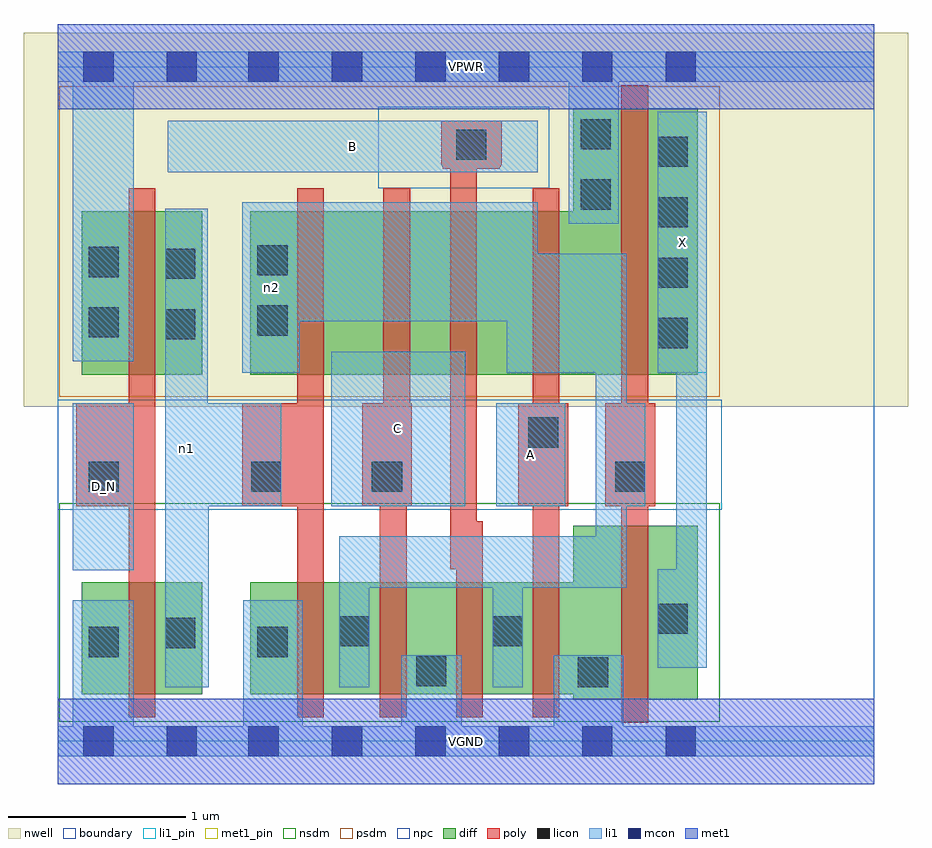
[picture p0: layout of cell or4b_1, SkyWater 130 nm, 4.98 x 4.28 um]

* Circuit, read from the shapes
.subckt or4b_1 A B C D_N VGND VPWR X n1 n2
XM1 n1 D_N VGND VSUBS sky130_fd_pr__nfet_01v8 w=0.63 l=0.15
XM2 n2 n1 VGND VSUBS sky130_fd_pr__nfet_01v8 w=0.63 l=0.15
XM3 VGND C n2 VSUBS sky130_fd_pr__nfet_01v8 w=0.63 l=0.15
XM4 n2 B VGND VSUBS sky130_fd_pr__nfet_01v8 w=0.63 l=0.15
XM5 VGND A n2 VSUBS sky130_fd_pr__nfet_01v8 w=0.63 l=0.15
XM6 X n2 VGND VSUBS sky130_fd_pr__nfet_01v8 w=0.98 l=0.15
XM7 n1 D_N VPWR n3 sky130_fd_pr__pfet_01v8 w=0.92 l=0.15
XM8 n4 n1 n2 n3 sky130_fd_pr__pfet_01v8 w=0.92 l=0.15
XM9 n5 C n4 n3 sky130_fd_pr__pfet_01v8 w=0.92 l=0.15
XM10 n6 B n5 n3 sky130_fd_pr__pfet_01v8 w=0.92 l=0.15
XM11 VPWR A n6 n3 sky130_fd_pr__pfet_01v8 w=0.92 l=0.15
XM12 X n2 VPWR n3 sky130_fd_pr__pfet_01v8 w=1.5 l=0.15
.ends

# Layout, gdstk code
import gdstk
lib = gdstk.Library(unit=1e-6, precision=1e-09)
def R(c, l, rs):  # rectangles x0, y0, x1, y1
    for r in rs: c.add(gdstk.rectangle(r[:2], r[2:], *l))
def A(c, l, x, y, w, h, nx, ny, dx, dy):  # array of equal rectangles
    R(c, l, [(x+i*dx, y+j*dy, x+i*dx+w, y+j*dy+h) for i in range(nx) for j in range(ny)])
nwell = (64, 20)
diff = (65, 20)
poly = (66, 20)
licon = (66, 44)
li1_pin = (67, 16)
li1 = (67, 20)
mcon = (67, 44)
met1_pin = (68, 16)
met1 = (68, 20)
nsdm = (93, 44)
psdm = (94, 20)
npc = (95, 20)
boundary = (235, 4)

or4b_1 = lib.new_cell('or4b_1')
R(or4b_1, nwell, [(-0.19,1.885,4.79,3.99), (0,1.885,4.6,3.99)])
R(or4b_1, diff, [(2.905,0.235,3.605,1.215), (0.135,0.265,0.815,0.895), (1.085,0.265,3.605,0.895), (0.135,2.065,0.815,2.985), (1.085,2.065,3.605,2.985), (2.905,2.065,3.605,3.565)])
R(or4b_1, poly, [(3.175,0.105,3.325,3.695), (0.4,0.135,0.55,3.115), (1.35,0.135,1.5,3.115), (1.815,0.135,1.965,1.905), (2.245,0.135,2.395,1.24), (2.675,0.135,2.825,3.115), (2.21,0.97,2.36,3.495), (0.105,1.325,0.55,1.905), (1.04,1.325,1.5,1.905), (1.715,1.325,1.995,1.905), (1.835,1.325,1.985,3.115), (2.595,1.325,2.875,1.905), (3.085,1.325,3.365,1.905), (2.17,3.225,2.49,3.495), (2.165,3.235,2.495,3.495), (2.16,3.245,2.5,3.495)])
A(or4b_1, licon, 3.38, 2.215, 0.17, 0.17, 1, 4, 0, 0.34)
R(or4b_1, licon, [(2.93,0.305,3.1,0.475), (2.02,0.31,2.19,0.48), (0.175,0.475,0.345,0.645), (1.125,0.475,1.295,0.645), (0.605,0.525,0.775,0.695), (1.585,0.535,1.755,0.705), (2.45,0.535,2.62,0.705), (3.38,0.605,3.55,0.775), (0.175,1.405,0.345,1.575), (1.09,1.405,1.26,1.575), (1.77,1.405,1.94,1.575), (3.14,1.405,3.31,1.575), (2.65,1.655,2.82,1.825), (0.605,2.265,0.775,2.435), (0.175,2.275,0.345,2.445), (1.125,2.285,1.295,2.455), (0.605,2.605,0.775,2.775), (0.175,2.615,0.345,2.785), (1.125,2.625,1.295,2.795), (2.945,2.995,3.115,3.165), (2.245,3.275,2.415,3.445), (2.945,3.335,3.115,3.505)])
R(or4b_1, li1_pin, [(0.085,0.965,0.43,1.905), (1.54,1.325,2.295,2.195), (2.47,1.325,2.86,1.905), (3.38,2.075,3.655,3.545), (0.62,3.205,2.705,3.495)])
R(or4b_1, li1, [(0,-0.085,4.6,0.085), (0.085,-0.085,0.43,0.795), (1.045,-0.085,1.38,0.795), (1.935,-0.085,2.275,0.485), (2.795,-0.085,3.185,0.485), (0.605,0.305,0.845,3), (0.605,0.305,0.85,1.905), (1.585,0.305,1.755,1.155), (2.45,0.305,2.62,1.155), (3.38,0.415,3.655,0.97), (3.485,0.415,3.655,3.545), (1.585,0.865,3.205,1.155), (3.03,0.865,3.205,2.745), (0.085,0.965,0.43,1.905), (0.605,1.325,1.26,1.905), (1.54,1.325,2.295,2.195), (2.47,1.325,2.86,1.905), (3.03,1.325,3.31,1.905), (1.04,2.075,1.365,3.035), (2.53,2.075,3.205,2.745), (2.53,2.075,2.705,3.035), (3.38,2.075,3.655,3.545), (0.085,2.14,0.43,3.885), (1.04,2.365,2.705,3.035), (2.88,2.915,3.16,3.885), (0.62,3.205,2.705,3.495), (0,3.715,4.6,3.885)])
A(or4b_1, mcon, 1.075, -0.085, 0.17, 0.17, 6, 2, 0.47, 3.8)
R(or4b_1, mcon, [(0.145,-0.085,0.315,0.085), (0.615,-0.085,0.785,0.085), (0.145,3.715,0.315,3.885), (0.615,3.715,0.785,3.885)])
R(or4b_1, met1_pin, [(0,-0.24,4.6,0.24), (0,3.56,4.6,4.04)])
R(or4b_1, met1, [(0,-0.24,4.6,0.24), (0,3.56,4.6,4.04)])
R(or4b_1, nsdm, [(0.01,0.11,3.73,1.34)])
R(or4b_1, psdm, [(0.01,1.94,3.73,3.69)])
R(or4b_1, npc, [(0,1.305,3.74,1.925), (1.805,3.115,2.77,3.575)])
R(or4b_1, boundary, [(0,0,4.6,3.8)])
or4b_1.add(gdstk.Label('A', (2.665,1.615), layer=67, texttype=5))
or4b_1.add(gdstk.Label('B', (1.662,3.35), layer=67, texttype=5))
or4b_1.add(gdstk.Label('C', (1.917,1.76), layer=67, texttype=5))
or4b_1.add(gdstk.Label('D_N', (0.257,1.435), layer=67, texttype=5))
or4b_1.add(gdstk.Label('X', (3.517,2.81), layer=67, texttype=5))
or4b_1.add(gdstk.Label('n1', (0.725,1.652), layer=67, texttype=5))
or4b_1.add(gdstk.Label('n2', (1.202,2.555), layer=67, texttype=5))
or4b_1.add(gdstk.Label('VPWR', (2.3,3.8), layer=68, texttype=5))
or4b_1.add(gdstk.Label('VGND', (2.3,0), layer=68, texttype=5))
or4b_1.add(gdstk.Label('A', (2.665,1.615), layer=67, texttype=16))
or4b_1.add(gdstk.Label('B', (1.662,3.35), layer=67, texttype=16))
or4b_1.add(gdstk.Label('C', (1.917,1.76), layer=67, texttype=16))
or4b_1.add(gdstk.Label('D_N', (0.257,1.435), layer=67, texttype=16))
or4b_1.add(gdstk.Label('X', (3.517,2.81), layer=67, texttype=16))
or4b_1.add(gdstk.Label('VPWR', (2.3,3.8), layer=68, texttype=16))
or4b_1.add(gdstk.Label('VGND', (2.3,0), layer=68, texttype=16))

lib.write_gds('or4b_1.gds')
